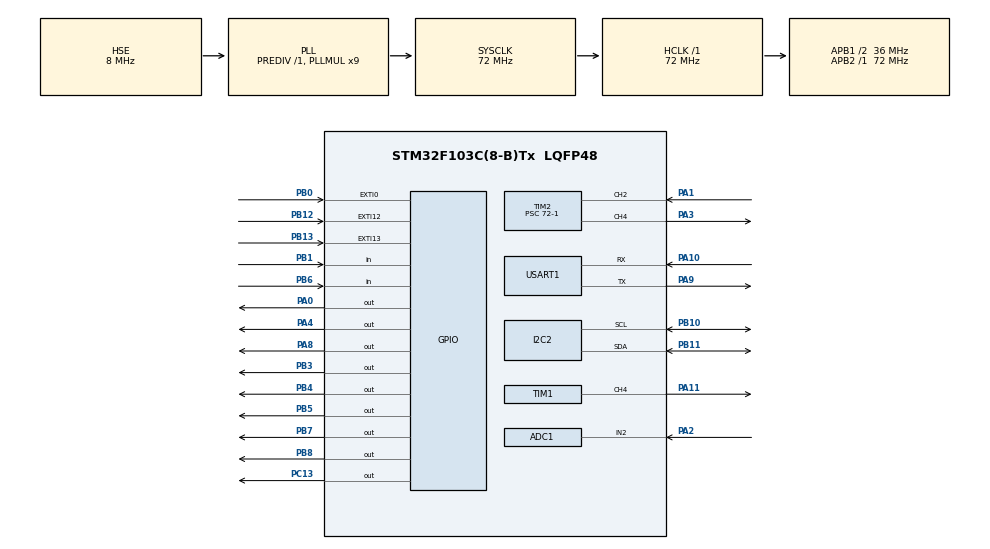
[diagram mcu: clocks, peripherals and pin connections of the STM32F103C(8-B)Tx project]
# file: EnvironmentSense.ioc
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ADC1.Channel-6\#ChannelRegularConversion=ADC_CHANNEL_2
ADC1.ContinuousConvMode=ENABLE
ADC1.EnableInjectedConversion=DISABLE
ADC1.EnableRegularConversion=ENABLE
ADC1.InjNumberOfConversion=4
ADC1.NbrOfConversionFlag=1
ADC1.Rank-6\#ChannelRegularConversion=1
ADC1.SamplingTime-6\#ChannelRegularConversion=ADC_SAMPLETIME_239CYCLES_5
ADC1.master=1
Dma.ADC1.0.Direction=DMA_PERIPH_TO_MEMORY
Dma.ADC1.0.Instance=DMA1_Channel1
Dma.ADC1.0.MemDataAlignment=DMA_MDATAALIGN_HALFWORD
Dma.ADC1.0.MemInc=DMA_MINC_ENABLE
Dma.ADC1.0.Mode=DMA_CIRCULAR
Dma.ADC1.0.PeriphDataAlignment=DMA_PDATAALIGN_HALFWORD
Dma.ADC1.0.PeriphInc=DMA_PINC_DISABLE
Dma.ADC1.0.Priority=DMA_PRIORITY_LOW
Dma.Request0=ADC1
FREERTOS.Tasks01=defaultTask,24,128,StartDefaultTask,Default,NULL,Dynamic,NULL,NULL
FREERTOS.configTOTAL_HEAP_SIZE=10240
Mcu.Family=STM32F1
Mcu.Name=STM32F103C(8-B)Tx
Mcu.Package=LQFP48
NVIC.DMA1_Channel1_IRQn=true\:5\:0\:false\:false\:true\:true\:false\:true\:true
NVIC.EXTI0_IRQn=true\:5\:0\:false\:false\:true\:true\:true\:true\:true
NVIC.EXTI15_10_IRQn=true\:5\:0\:false\:false\:true\:true\:true\:true\:true
NVIC.PriorityGroup=NVIC_PRIORITYGROUP_4
NVIC.TIM2_IRQn=true\:5\:0\:true\:false\:true\:true\:true\:true\:true
NVIC.TIM4_IRQn=true\:15\:0\:true\:false\:true\:false\:false\:true\:true
NVIC.TimeBase=TIM4_IRQn
NVIC.TimeBaseIP=TIM4
PA0-WKUP.Signal=GPIO_Output
PA1.Signal=S_TIM2_CH2
PA10.Mode=Asynchronous
PA10.Signal=USART1_RX
PA11.Signal=S_TIM1_CH4
PA13.Mode=Serial_Wire
PA13.Signal=SYS_JTMS-SWDIO
PA14.Mode=Serial_Wire
PA14.Signal=SYS_JTCK-SWCLK
PA2.Signal=ADCx_IN2
PA3.Signal=S_TIM2_CH4
PA4.PinState=GPIO_PIN_SET
PA4.Signal=GPIO_Output
PA8.GPIO_ModeDefaultOutputPP=GPIO_MODE_OUTPUT_PP
PA8.PinState=GPIO_PIN_SET
PA8.Signal=GPIO_Output
PA9.Mode=Asynchronous
PA9.Signal=USART1_TX
PB0.GPIO_ModeDefaultEXTI=GPIO_MODE_IT_RISING
PB0.GPIO_PuPd=GPIO_PULLUP
PB0.Signal=GPXTI0
PB1.GPIO_PuPd=GPIO_PULLUP
PB1.Signal=GPIO_Input
PB10.Mode=I2C
PB10.Signal=I2C2_SCL
PB11.Mode=I2C
PB11.Signal=I2C2_SDA
PB12.GPIO_ModeDefaultEXTI=GPIO_MODE_IT_FALLING
PB12.GPIO_PuPd=GPIO_PULLUP
PB12.Signal=GPXTI12
PB13.GPIO_ModeDefaultEXTI=GPIO_MODE_IT_FALLING
PB13.GPIO_PuPd=GPIO_PULLUP
PB13.Signal=GPXTI13
PB3.GPIO_ModeDefaultOutputPP=GPIO_MODE_OUTPUT_OD
PB3.GPIO_PuPd=GPIO_NOPULL
PB3.PinState=GPIO_PIN_SET
PB3.Signal=GPIO_Output
PB4.GPIO_ModeDefaultOutputPP=GPIO_MODE_OUTPUT_OD
PB4.GPIO_PuPd=GPIO_NOPULL
PB4.PinState=GPIO_PIN_SET
PB4.Signal=GPIO_Output
PB5.Signal=GPIO_Output
PB6.GPIO_PuPd=GPIO_PULLUP
PB6.Signal=GPIO_Input
PB7.GPIO_PuPd=GPIO_PULLUP
PB7.Signal=GPIO_Output
PB8.GPIO_PuPd=GPIO_PULLUP
PB8.Signal=GPIO_Output
PC13-TAMPER-RTC.Signal=GPIO_Output
PC14-OSC32_IN.Mode=LSE-External-Oscillator
PC14-OSC32_IN.Signal=RCC_OSC32_IN
PC15-OSC32_OUT.Mode=LSE-External-Oscillator
PC15-OSC32_OUT.Signal=RCC_OSC32_OUT
PD0-OSC_IN.Mode=HSE-External-Oscillator
PD0-OSC_IN.Signal=RCC_OSC_IN
PD1-OSC_OUT.Mode=HSE-External-Oscillator
PD1-OSC_OUT.Signal=RCC_OSC_OUT
ProjectManager.HeapSize=0x200
ProjectManager.StackSize=0x400
ProjectManager.TargetToolchain=MDK-ARM V5.32
RCC.ADCPresc=RCC_ADCPCLK2_DIV6
RCC.AHBFreq_Value=72000000
RCC.APB1CLKDivider=RCC_HCLK_DIV2
RCC.APB1Freq_Value=36000000
RCC.APB1TimFreq_Value=72000000
RCC.APB2Freq_Value=72000000
RCC.APB2TimFreq_Value=72000000
RCC.HCLKFreq_Value=72000000
RCC.PLLMUL=RCC_PLL_MUL9
RCC.PLLSourceVirtual=RCC_PLLSOURCE_HSE
RCC.SYSCLKFreq_VALUE=72000000
RCC.SYSCLKSource=RCC_SYSCLKSOURCE_PLLCLK
RCC.USBFreq_Value=72000000
SH.ADCx_IN2.0=ADC1_IN2,IN2
SH.S_TIM1_CH4.0=TIM1_CH4,PWM Generation4 CH4
SH.S_TIM2_CH2.0=TIM2_CH2,Input_Capture2_from_TI2
SH.S_TIM2_CH4.0=TIM2_CH4,PWM Generation4 CH4
TIM1.Channel-PWM\ Generation4\ CH4=TIM_CHANNEL_4
TIM1.Period=100-1
TIM1.Prescaler=72-1
TIM2.Channel-Input_Capture2_from_TI2=TIM_CHANNEL_2
TIM2.Channel-PWM\ Generation4\ CH4=TIM_CHANNEL_4
TIM2.ICFilter_CH2=4
TIM2.Prescaler=72-1
USART1.VirtualMode=VM_ASYNC
VP_FREERTOS_VS_CMSIS_V2.Mode=CMSIS_V2
VP_SYS_VS_tim4.Mode=TIM4
board=custom

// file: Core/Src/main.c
/* USER CODE BEGIN Header */
/**
  ******************************************************************************
  * @file           : main.c
  * @brief          : Main program body
  ******************************************************************************
  * @attention
  *
  * Copyright (c) 2026 STMicroelectronics.
  * All rights reserved.
  *
  * This software is licensed under terms that can be found in the LICENSE file
  * in the root directory of this software component.
  * If no LICENSE file comes with this software, it is provided AS-IS.
  *
  ******************************************************************************
  */
/* USER CODE END Header */
#include "main.h"
#include "cmsis_os.h"
#include "adc.h"
#include "dma.h"
#include "i2c.h"
#include "tim.h"
#include "usart.h"
#include "gpio.h"

/* USER CODE BEGIN Includes */
#include "bsp_actuator.h"
/* USER CODE END Includes */

void SystemClock_Config(void);
void MX_FREERTOS_Init(void);

int main(void)
{

  /* MCU Configuration--------------------------------------------------------*/

  /* Reset of all peripherals, Initializes the Flash interface and the Systick. */
  HAL_Init();

  /* Configure the system clock */
  SystemClock_Config();

  /* Initialize all configured peripherals */
  MX_GPIO_Init();
  MX_DMA_Init();
  MX_I2C2_Init();
  MX_USART1_UART_Init();
  MX_ADC1_Init();
  MX_TIM2_Init();
  MX_TIM1_Init();
  /* USER CODE BEGIN 2 */
  LED_Ctrl_Init();
  Servo_Init();
  Motor_Init();
  /* USER CODE END 2 */

  /* Init scheduler */
  osKernelInitialize();  /* Call init function for freertos objects (in cmsis_os2.c) */
  MX_FREERTOS_Init();

  /* Start scheduler */
  osKernelStart();

  /* We should never get here as control is now taken by the scheduler */

  /* Infinite loop */
  while (1)
  {

  }
}

void SystemClock_Config(void)
{
  RCC_OscInitTypeDef RCC_OscInitStruct = {0};
  RCC_ClkInitTypeDef RCC_ClkInitStruct = {0};
  RCC_PeriphCLKInitTypeDef PeriphClkInit = {0};

  /** Initializes the RCC Oscillators according to the specified parameters
  * in the RCC_OscInitTypeDef structure.
  */
  RCC_OscInitStruct.OscillatorType = RCC_OSCILLATORTYPE_HSE;
  RCC_OscInitStruct.HSEState = RCC_HSE_ON;
  RCC_OscInitStruct.HSEPredivValue = RCC_HSE_PREDIV_DIV1;
  RCC_OscInitStruct.HSIState = RCC_HSI_ON;
  RCC_OscInitStruct.PLL.PLLState = RCC_PLL_ON;
  RCC_OscInitStruct.PLL.PLLSource = RCC_PLLSOURCE_HSE;
  RCC_OscInitStruct.PLL.PLLMUL = RCC_PLL_MUL9;
  if (HAL_RCC_OscConfig(&RCC_OscInitStruct) != HAL_OK)
  {
    Error_Handler();
  }

  /** Initializes the CPU, AHB and APB buses clocks
  */
  RCC_ClkInitStruct.ClockType = RCC_CLOCKTYPE_HCLK|RCC_CLOCKTYPE_SYSCLK
                              |RCC_CLOCKTYPE_PCLK1|RCC_CLOCKTYPE_PCLK2;
  RCC_ClkInitStruct.SYSCLKSource = RCC_SYSCLKSOURCE_PLLCLK;
  RCC_ClkInitStruct.AHBCLKDivider = RCC_SYSCLK_DIV1;
  RCC_ClkInitStruct.APB1CLKDivider = RCC_HCLK_DIV2;
  RCC_ClkInitStruct.APB2CLKDivider = RCC_HCLK_DIV1;

  if (HAL_RCC_ClockConfig(&RCC_ClkInitStruct, FLASH_LATENCY_2) != HAL_OK)
  {
    Error_Handler();
  }
  PeriphClkInit.PeriphClockSelection = RCC_PERIPHCLK_ADC;
  PeriphClkInit.AdcClockSelection = RCC_ADCPCLK2_DIV6;
  if (HAL_RCCEx_PeriphCLKConfig(&PeriphClkInit) != HAL_OK)
  {
    Error_Handler();
  }
}

void HAL_TIM_PeriodElapsedCallback(TIM_HandleTypeDef *htim)
{
  if (htim->Instance == TIM4)
  {
    HAL_IncTick();
  }
}

void Error_Handler(void)
{
  __disable_irq();
  while (1)
  {
  }
}

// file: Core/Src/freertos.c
/* USER CODE BEGIN Header */
/**
 ******************************************************************************
 * File Name          : freertos.c
 * Description        : Code for freertos applications
 ******************************************************************************
 * @attention
 *
 * Copyright (c) 2026 STMicroelectronics.
 * All rights reserved.
 *
 * This software is licensed under terms that can be found in the LICENSE file
 * in the root directory of this software component.
 * If no LICENSE file comes with this software, it is provided AS-IS.
 *
 ******************************************************************************
 */
/* USER CODE END Header */

#include "FreeRTOS.h"
#include "task.h"
#include "main.h"
#include "cmsis_os.h"

/* USER CODE BEGIN Includes */
#include "sht20.h"
#include "led.h"
#include "usart.h"
#include "OLED.h"
#include "bsp_light.h"
#include "bsp_hcsr04.h"
#include "bsp_encoder.h"
#include "app_menu.h"
#include "bsp_buzzer.h"
#include "bsp_actuator.h"
#include "sensor_types.h"
#include "pin_config.h"
#include "app_config.h"
#include <stdio.h>
#include <string.h>
#include <stdlib.h>
/* USER CODE END Includes */

/* USER CODE BEGIN PD */

/* (告警标志/阈值已统一在 sensor_types.h 中定义) */

/* 全局模式: 1=阈值自动控制, 0=手动开关控制 (KEY3 切换) */
static volatile int auto_mode = 1;

/* USER CODE END PD */

/* USER CODE BEGIN Variables */

/*
 * ============================================================
 *  IPC 通信对象（任务间数据传递）
 * ============================================================
 *
 *  数据流示意:
 *  SensorTask ──sht20Queue────► DisplayTask    传感器数据 → OLED 刷新
 *  SensorTask ──analysisQueue─► AnalysisTask   传感器数据 → 告警判断 + 自动控制
 *  InputTask  ──modeNotifyQueue─► DisplayTask  模式切换通知 → OLED 全屏提示
 *  AnalysisTask ──alarmEventFlags──► AlarmTask 告警标志位 → 蜂鸣器触发
 */

osMessageQueueId_t sht20Queue;       /* 传感器 → 显示: 容量1, 只保留最新数据 */
osMessageQueueId_t analysisQueue;    /* 传感器 → 分析: 容量10, 缓冲防止丢数据 */
osMessageQueueId_t modeNotifyQueue;  /* 模式切换 → 显示: 容量2 */
osMutexId_t        statsMutex;       /* 统计互斥锁（预留） */
osEventFlagsId_t   alarmEventFlags;  /* 告警事件组: 6 种告警标志位 */

/*
 * ============================================================
 *  任务属性定义
 * ============================================================
 *
 *  stack_size 单位: 字 (32-bit) → 实际字节数 = stack_size × 4
 *  STM32F103C8T6 总 RAM: 20KB，当前任务总栈约 4.8KB
 *
 *  优先级说明:
 *    所有任务同优先级 (Normal) — 依赖 FreeRTOS 时间片轮转调度
 *    MonitorTask 使用 Low 优先级 — 系统监控不抢实时任务
 */

/* ---- SensorTask: 传感器采集 ---- */
osThreadId_t sensorTaskHandle;
const osThreadAttr_t sensorTask_attributes = {
  .name = "sensorTask",
  .stack_size = 256 * 4,    /* 1KB — printf 消耗栈较多 */
  .priority = (osPriority_t) osPriorityNormal,
};

/* ---- DisplayTask: OLED 显示刷新 ---- */
osThreadId_t displayTaskHandle;
const osThreadAttr_t displayTask_attributes = {
  .name = "displayTask",
  .stack_size = 256 * 4,    /* 1KB — Menu_Render 递归调用 */
  .priority = (osPriority_t) osPriorityNormal,
};

/* ---- InputTask: 按键 + 编码器轮询 ---- */
osThreadId_t inputTaskHandle;
const osThreadAttr_t inputTask_attributes = {
  .name = "inputTask",
  .stack_size = 128 * 4,    /* 512B — 纯逻辑无浮点，栈需求小 */
  .priority = (osPriority_t) osPriorityNormal,
};

/* ---- AnalysisTask: 数据分析 + 阈值比对 + 自动控制 ---- */
osThreadId_t analysisTaskHandle;
const osThreadAttr_t analysisTask_attributes = {
  .name = "analysisTask",
  .stack_size = 256 * 4,    /* 1KB — 浮点比较 + 执行器调用 */
  .priority = (osPriority_t) osPriorityNormal,
};

/* ---- MonitorTask: UART 命令解析 + 系统监控 ---- */
osThreadId_t monitorTaskHandle;
const osThreadAttr_t monitorTask_attributes = {
  .name = "monitorTask",
  .stack_size = 256 * 4,    /* 1KB — JSON 字符串解析消耗栈 */
  .priority = (osPriority_t) osPriorityLow,   /* 低优先级，不干扰实时采集 */
};

/* ---- AlarmTask: 告警响应（蜂鸣器） ---- */
osThreadId_t alarmTaskHandle;
const osThreadAttr_t alarmTask_attributes = {
  .name = "alarmTask",
  .stack_size = 128 * 4,    /* 512B — 仅等待事件 + 控制蜂鸣器 */
  .priority = (osPriority_t) osPriorityNormal,
};

/* USER CODE END Variables */
/* Definitions for defaultTask */
osThreadId_t defaultTaskHandle;
const osThreadAttr_t defaultTask_attributes = {
  .name = "defaultTask",
  .stack_size = 128 * 4,
  .priority = (osPriority_t) osPriorityNormal,
};

/* USER CODE BEGIN FunctionPrototypes */

/*
 * 6 个自定义 FreeRTOS 任务（+1 个 CubeMX 默认任务）
 *
 * ┌─────────────────┬──────────────────────────────────────────┬──────────┐
 * │ 任务             │ 职责                                     │ 周期      │
 * ├─────────────────┼──────────────────────────────────────────┼──────────┤
 * │ StartSensorTask  │ 采集 4 路传感器, 通过队列分发, JSON 上报  │ ~500ms   │
 * │ StartDisplayTask │ OLED 菜单渲染, 响应模式切换通知           │ ~100ms   │
 * │ StartInputTask   │ 按键长/短按检测 + 编码器步数消费          │ 10ms     │
 * │ StartAnalysisTask│ 阈值对比 → 告警标志, 自动模式下控制执行器 │ 事件驱动  │
 * │ StartAlarmTask   │ 阻塞等待告警事件 → 触发蜂鸣器             │ 事件驱动  │
 * │ StartMonitorTask │ UART 环形缓冲区消费 + 10s 系统状态打印    │ 1ms 轮询 │
 * └─────────────────┴──────────────────────────────────────────┴──────────┘
 */
void StartSensorTask(void *argument);
void StartDisplayTask(void *argument);
void StartInputTask(void *argument);
void StartAnalysisTask(void *argument);
void StartMonitorTask(void *argument);
void StartAlarmTask(void *argument);
/* USER CODE END FunctionPrototypes */

void StartDefaultTask(void *argument);

void MX_FREERTOS_Init(void); /* (MISRA C 2004 rule 8.1) */

void MX_FREERTOS_Init(void) {

  /* USER CODE BEGIN RTOS_MUTEX */
  statsMutex = osMutexNew(NULL);
  /* USER CODE END RTOS_MUTEX */

  /* USER CODE BEGIN RTOS_QUEUES */
  sht20Queue      = osMessageQueueNew(QUEUE_SENSOR_DISPLAY, sizeof(SensorData_t), NULL);
  analysisQueue   = osMessageQueueNew(QUEUE_SENSOR_ANALYSIS, sizeof(SensorData_t), NULL);
  modeNotifyQueue = osMessageQueueNew(QUEUE_MODE_NOTIFY, sizeof(uint8_t), NULL);
  /* USER CODE END RTOS_QUEUES */

  /* Create the thread(s) */
  /* creation of defaultTask */
  defaultTaskHandle = osThreadNew(StartDefaultTask, NULL, &defaultTask_attributes);

  /* USER CODE BEGIN RTOS_THREADS */
  sensorTaskHandle   = osThreadNew(StartSensorTask, NULL, &sensorTask_attributes);
  displayTaskHandle  = osThreadNew(StartDisplayTask, NULL, &displayTask_attributes);
  inputTaskHandle    = osThreadNew(StartInputTask, NULL, &inputTask_attributes);
  analysisTaskHandle = osThreadNew(StartAnalysisTask, NULL, &analysisTask_attributes);
  alarmTaskHandle    = osThreadNew(StartAlarmTask, NULL, &alarmTask_attributes);
  monitorTaskHandle  = osThreadNew(StartMonitorTask, NULL, &monitorTask_attributes);
  /* USER CODE END RTOS_THREADS */

  /* USER CODE BEGIN RTOS_EVENTS */
  alarmEventFlags = osEventFlagsNew(NULL);
  /* USER CODE END RTOS_EVENTS */

}

void StartDefaultTask(void *argument)
{
  /* USER CODE BEGIN StartDefaultTask */
  LED_Init();
  for (;;)
  {
    osDelay(500);
  }
  /* USER CODE END StartDefaultTask */
}

/* USER CODE BEGIN Application */

/**
 * @brief  传感器采集任务 — 系统数据入口
 * @note   周期约 500ms: SHT20(85ms阻塞) + osDelay(60) + osDelay(440)
 *         采集 4 路传感器 → 打包 SensorData_t → 分发到 2 个队列 + USART1 JSON 上报
 * @warning SHT20_ReadData 内部 HAL_Delay(85) 阻塞，会阻塞本任务但不影响其他 RTOS 任务
 */
void StartSensorTask(void *argument)
{
    SensorData_t local_data;

    /* ---- 一次性初始化 ---- */
    if (!SHT20_Init()) {
         printf("SHT20 Init Failed!\r\n");
    } else {
         printf("SHT20 Init OK\r\n");
    }

    LightSensor_Init();   /* ADC+DMA 启动，此后 DMA 在后台持续搬运 */
    HCSR04_Init();        /* TIM2 输入捕获启动，此后 ISR 自动处理 Echo */

    for (;;) {
        /* ① 读温湿度 — I2C 主机模式，内部阻塞 85ms */
        if (!SHT20_ReadData(&local_data)) {
            printf("SHT20 Read Error\r\n");
            osDelay(1000);   /* 失败等 1s 再重试，避免死循环刷屏 */
            continue;
        }

        /* ② 读光照 — DMA 循环缓冲区均值滤波，零等待 */
        local_data.light_raw     = LightSensor_GetRaw();
        local_data.light_percent = LightSensor_GetPercent();

        /* ③ 读距离 — 发 Trig 脉冲 → 等 Echo → 读 ISR 捕获结果 */
        HCSR04_Trig();
        osDelay(60);  /* 等待 Echo 返回（最长 38ms + 余量），此期间 ISR 已完成捕获 */
        local_data.distance = HCSR04_GetDistance();

        /* ④ 分发数据到下游任务 */
        osMessageQueuePut(sht20Queue, &local_data, 0, 0);     /* → DisplayTask */
        osMessageQueuePut(analysisQueue, &local_data, 0, 0);  /* → AnalysisTask */

        printf("Temp=%.1f C  Humi=%.1f%%  Light=%d%%  Dist=%.1f cm\r\n",
                local_data.temperature, local_data.humidity,
                local_data.light_percent, local_data.distance);

        /* ⑤ 上报 JSON 给 ESP32（USART1 TX → ESP32 GPIO17 RX） */
        {
            char json[128];
            snprintf(json, sizeof(json),
                "{\"t\":%.1f,\"h\":%.1f,\"l\":%d,\"d\":%.1f}\r\n",
                local_data.temperature, local_data.humidity,
                local_data.light_percent, local_data.distance);
            HAL_UART_Transmit(&huart1, (uint8_t *)json, strlen(json), 100);
        }

        osDelay(440);   /* 补齐到 ~500ms 周期 */
    }
}

/**
 * @brief  OLED 显示任务 — 菜单渲染 + 模式切换动画
 * @note   100ms 刷新周期
 *         从 sht20Queue 取最新传感器数据 → 调用 Menu_Render 绘制当前页面
 *         非阻塞监听 modeNotifyQueue → 收到通知后全屏显示 AUTO/MANUAL 1.2 秒
 */
void StartDisplayTask(void *argument)
{
    SensorData_t local_data = {0};
    uint8_t      mode_notify;

    OLED_Init();
    Menu_Init();
    OLED_ShowString(0, 0, "SHT20 Init...", OLED_8X16);
    OLED_Update();
    osDelay(1000);   /* 给传感器 1s 初始化时间 */

    for (;;) {
        /* 非阻塞检测模式切换通知 — 0ms timeout，有则处理无则跳过 */
        if (osMessageQueueGet(modeNotifyQueue, &mode_notify, NULL, 0) == osOK) {
            OLED_Clear();
            if (mode_notify) {
                OLED_ShowString(0, 0, "  AUTO MODE", OLED_8X16);
                OLED_ShowString(0, 2, "Threshold Ctrl", OLED_8X16);
            } else {
                OLED_ShowString(0, 0, " MANUAL MODE", OLED_8X16);
                OLED_ShowString(0, 2, "Switch Control", OLED_8X16);
            }
            OLED_Update();
            osDelay(1200);   /* 动画保持 1.2s */
            OLED_Clear();    /* 清屏，恢复菜单渲染 */
        }

        /* 尝试取最新传感器数据（100ms 超时，没拿到就用旧数据渲染） */
        if (osMessageQueueGet(sht20Queue, &local_data, NULL, 100) == osOK) {
            /* 拿到新数据 */
        }
        Menu_Render(&local_data);   /* 绘制当前页面 */
        osDelay(100);
    }
}

/**
 * @brief  输入处理任务 — 按键长短按检测 + 编码器步数消费
 * @note   10ms 轮询周期
 *         按键消抖策略: GPIO 下降沿记时刻 → GPIO 上升沿算按键时长
 *         编码器: ISR 已做消抖并累积到 enc_steps，这里只需消费
 *         KEY1: 页面切换
 *         KEY2: 确认/返回（根据当前页面 + 编辑状态分发）
 *         KEY3: 自动/手动模式切换
 */
void StartInputTask(void *argument)
{
    uint8_t  k1_last = 1, k2_last = 1, k3_last = 1;   /* 上一次电平，初始 HIGH（上拉） */
    uint32_t k1_down = 0, k2_down = 0, k3_down = 0;    /* 按下时刻（tick） */

    for (;;) {
        uint8_t k1_now = (uint8_t)HAL_GPIO_ReadPin(KEY1_PORT, KEY1_PIN);
        uint8_t k2_now = (uint8_t)HAL_GPIO_ReadPin(KEY2_PORT, KEY2_PIN);
        uint8_t k3_now = (uint8_t)HAL_GPIO_ReadPin(KEY3_PORT, KEY3_PIN);

        /* ---- KEY1: 下降沿记时刻，上升沿判长短按 ---- */
        if (k1_last == 1 && k1_now == 0) {
            k1_down = osKernelGetTickCount();           /* 按下瞬间 */
        }
        if (k1_last == 0 && k1_now == 1) {
            uint32_t hold = (osKernelGetTickCount() - k1_down)
                            * portTICK_PERIOD_MS;        /* 按键持续时长(ms) */
            if (hold >= BTN_LONG_PRESS_MS)               /* ≥600ms → 长按 */
                Menu_ProcessKey1(BTN_LONG);
            else if (hold >= BTN_DEBOUNCE_MS)            /* ≥30ms → 短按（滤除毛刺） */
                Menu_ProcessKey1(BTN_SHORT);
        }
        k1_last = k1_now;   /* 更新状态，为下次边沿检测做准备 */

        /* ---- KEY2: 同上逻辑 ---- */
        if (k2_last == 1 && k2_now == 0) {
            k2_down = osKernelGetTickCount();
        }
        if (k2_last == 0 && k2_now == 1) {
            uint32_t hold = (osKernelGetTickCount() - k2_down)
                            * portTICK_PERIOD_MS;
            if (hold >= BTN_LONG_PRESS_MS)
                Menu_ProcessKey2(BTN_LONG);
            else if (hold >= BTN_DEBOUNCE_MS)
                Menu_ProcessKey2(BTN_SHORT);
        }
        k2_last = k2_now;

        /* ---- KEY3: 模式切换（仅判断短按） ---- */
        if (k3_last == 1 && k3_now == 0) {
            k3_down = osKernelGetTickCount();
        }
        if (k3_last == 0 && k3_now == 1) {
            uint32_t hold = (osKernelGetTickCount() - k3_down)
                            * portTICK_PERIOD_MS;
            if (hold >= BTN_DEBOUNCE_MS) {               /* 消抖即可，不区分长短按 */
                auto_mode = !auto_mode;                   /* 翻转自动/手动模式 */
                uint8_t notify = (uint8_t)auto_mode;
                osMessageQueuePut(modeNotifyQueue, &notify, 0, 0);  /* 通知 DisplayTask */
                printf("[KEY3] Mode: %s\r\n", auto_mode ? "AUTO" : "MANUAL");
            }
        }
        k3_last = k3_now;

        /* ---- 编码器步数消费: 读后即清零 ---- */
        int32_t steps = Encoder_GetSteps();
        if (steps) Menu_ProcessEncoder(steps);  /* 一次性传入本周期所有步数 */

        osDelay(10);   /* 10ms 轮询，100Hz 采样率对按键绰绰有余 */
    }
}

/**
 * @brief  数据分析任务 — 阈值比对 + 告警判断 + 自动执行器控制
 * @note   事件驱动: 等待 analysisQueue 有数据才执行
 *         6 项阈值逐一比对 → 满足条件则置位对应告警标志
 *         自动模式下直接驱动 3 个执行器（风扇/窗帘/LED），含回滞区间防抖动
 *         告警标志通过 alarmEventFlags 事件组通知 AlarmTask
 */
void StartAnalysisTask(void *argument)
{
    SensorData_t data;

    printf("[Analysis] started\r\n");

    for (;;) {
        /* 阻塞等待传感器数据（500ms 超时，防止死等） */
        if (osMessageQueueGet(analysisQueue, &data, NULL, 500) == osOK) {

            /* ---- 阈值检查：6 项逐一比对，生成告警位掩码 ---- */
            uint32_t flags = 0;
            const RuntimeThreshold_t *thr = Menu_GetThreshold();

            if (data.temperature  > thr->temp_high)  flags |= ALARM_FLAG_TEMP_HIGH;
            if (data.temperature  < thr->temp_low)   flags |= ALARM_FLAG_TEMP_LOW;
            if (data.humidity     > thr->humi_high)  flags |= ALARM_FLAG_HUMI_HIGH;
            if (data.humidity     < thr->humi_low)   flags |= ALARM_FLAG_HUMI_LOW;
            if (data.light_percent < thr->light_low) flags |= ALARM_FLAG_LIGHT_LOW;
            if (data.distance     < thr->dist_near)  flags |= ALARM_FLAG_DIST_NEAR;

            /* ---- 自动执行器控制（手动模式下跳过，由小程序/UART 控制） ---- */
            if (auto_mode) {
                /* 风扇: 温度 > 上限 → 开(80%占空比)；温度回落 > 1°C → 关闭
                 *      1°C 回滞区间防止临界值反复开关 */
                if (data.temperature > thr->temp_high)
                    Motor_Forward(80);
                else if (data.temperature <= thr->temp_high - 1.0f)
                    Motor_Brake();

                /* 窗帘: 光照 > 70% → 关闭（遮阳）；光照 < 40% → 打开（采光）
                 *       30% 宽回滞区间，避免云层飘过引起频繁开关 */
                if (data.light_percent > 70)
                    Servo_Close();
                else if (data.light_percent < 40)
                    Servo_Open();

                /* LED: 光照 < 阈值下限 → 开灯补光；光照回升 > 阈值+10% → 关灯
                 *      10% 回滞区间 */
                if (data.light_percent < thr->light_low)
                    LED_Ctrl_ON();
                else if (data.light_percent > thr->light_low + 10)
                    LED_Ctrl_OFF();
            }

            /* 有告警则设置事件标志，通知 AlarmTask */
            if (flags) {
                osEventFlagsSet(alarmEventFlags, flags);
                printf("[Alarm] flags=0x%lX\r\n", flags);
            }
        }
    }
}

/**
 * @brief  告警响应任务 — 阻塞等待告警事件 → 触发蜂鸣器
 * @note   永久阻塞等待 alarmEventFlags 中的 DIST_NEAR 标志
 *         蜂鸣器快速响 3 声后冷却 3 秒，防止连续报警扰民
 * @todo   当前仅响应距离告警(DIST_NEAR)，应扩展为响应全部 6 种告警
 *         并根据告警类型区分蜂鸣节奏（如温度用快节奏、湿度用慢节奏）
 */
void StartAlarmTask(void *argument)
{
    Buzzer_Init();
    printf("[Alarm] started\r\n");

    for (;;) {
        /* 阻塞等待距离告警事件（CPU 完全释放，不占时间片） */
        osEventFlagsWait(alarmEventFlags,
                          ALARM_FLAG_DIST_NEAR,   /* 只等这一个标志 */
                          osFlagsWaitAny,          /* 任一满足即唤醒 */
                          osWaitForever);           /* 无超时，永久等 */

        printf("[Alarm] DIST NEAR\r\n");
        Buzzer_Beep(BEEP_FAST_ON_MS, BEEP_FAST_OFF_MS, BEEP_FAST_COUNT);
        /* BEEP_FAST: 100ms响/100ms停 × 3次 = 总计 600ms */

        osDelay(3000);   /* 报警冷却: 3 秒内不重复触发 */
    }
}

/**
 * @brief  系统监控任务 — UART 命令解析 + 定期状态打印
 * @note   内层 1ms 轮询环形缓冲区，外层每 10 秒打印系统信息
 *         解析 3 种 JSON 命令:
 *           1. {"cmd":"init",...}          ESP32 启动后恢复阈值
 *           2. {"prop":"...","value":...}  云端/小程序远程设置阈值
 *           3. {"cmd":"actuator","act":"...","val":...}  远程控制执行器(仅手动模式)
 *         环形缓冲区在 USART1 RXNE ISR 中填充，本任务消费
 * @warning JSON 解析使用 strstr/atof 手工解析，非标准 JSON 库，容错性有限
 */
void StartMonitorTask(void *argument)
{
    char buf[256];   /* vTaskList 缓冲区 */

    printf("[Monitor] started\r\n");

    char rx_buf[256];          /* 命令接收缓冲区 */
    uint16_t rx_idx = 0;       /* 当前写入位置 */

    for (;;) {
        /* ---- 内层: 1ms 轮询 UART 环形缓冲区（10000 次 = 10 秒） ---- */
        for (int t = 0; t < 10000; t++) {
            /* 从 ISR 驱动的环形缓冲区读取所有可用字节 */
            while (UART_RxAvailable()) {
                uint8_t ch = UART_RxGetChar();
                if (ch == '\n' || ch == '\r') {
                    /* 遇到换行/回车 → 一行命令完整，开始解析 */
                    if (rx_idx > 0) {
                        rx_buf[rx_idx] = '\0';     /* 收尾 */
                        rx_idx = 0;                 /* 重置指针 */

                        /* 提取最外层 JSON 花括号 */
                        char *start = strchr(rx_buf, '{');
                        char *end   = strchr(rx_buf, '}');
                        if (start && end && end > start) {
                            end[1] = '\0';           /* 截断尾部多余字符 */

                            /* ---- 命令类型 A: ESP32 启动恢复阈值 ---- */
                            /* 格式: {"cmd":"init","maxtemp_set":35,"minitemp_set":0,...} */
                            if (strstr(start, "\"cmd\":\"init\"")) {
                                static const char *keys[] = {
                                    "maxtemp_set", "minitemp_set", "maxhum_set",
                                    "minihum_set", "minlight_set", "neardist_set"
                                };
                                for (int k = 0; k < 6; k++) {
                                    char search[64];
                                    snprintf(search, sizeof(search), "\"%s\":", keys[k]);
                                    char *pp = strstr(start, search);
                                    if (pp) {
                                        pp += strlen(search);
                                        char vs[32] = {0};
                                        int vi = 0;
                                        while (*pp && *pp != ',' && *pp != '}' && vi < 31)
                                            vs[vi++] = *pp++;
                                        vs[vi] = '\0';
                                        float v = atof(vs);           /* 字符串 → 浮点 */
                                        int ti = Menu_PropNameToIndex(keys[k]);
                                        if (ti >= 0) Menu_SetThresholdByIndex(ti, v);
                                    }
                                }
                                Menu_SaveThresholds();                /* 写 Flash */
                                printf("[UART] INIT thresholds applied\r\n");
                            }
                            /* ---- 命令类型 B: 云端/小程序设置单个阈值 ---- */
                            /* 格式: {"prop":"maxtemp_set","value":30} */
                            else {
                                char prop[32] = {0};
                                char *pp = strstr(start, "\"prop\":\"");
                                if (pp) {
                                    pp += 8;                         /* 跳过 "prop":" */
                                    int i = 0;
                                    while (*pp && *pp != '\"' && i < 31) prop[i++] = *pp++;
                                    prop[i] = '\0';
                                }

                                float val = 0;
                                char *vp = strstr(start, "\"value\":");
                                if (vp) {
                                    vp += 8;                         /* 跳过 "value": */
                                    char val_str[32] = {0};
                                    int i = 0;
                                    while (*vp && *vp != '}' && *vp != ',' && i < 31)
                                        val_str[i++] = *vp++;
                                    val_str[i] = '\0';
                                    val = atof(val_str);
                                }

                                int thr_idx = Menu_PropNameToIndex(prop);
                                if (thr_idx >= 0) {
                                    Menu_SetThresholdByIndex(thr_idx, val);
                                    Menu_SaveThresholds();           /* 写 Flash */
                                    printf("[UART] SET %s = %.1f\r\n", prop, val);
                                }
                            }

                            /* ---- 命令类型 C: 远程执行器控制（仅手动模式生效） ---- */
                            /* 格式: {"cmd":"actuator","act":"led","val":1} 或 {"act":"servo","val":0} */
                            if (strstr(start, "\"cmd\":\"actuator\"")) {
                                char act[16] = {0};
                                float aval = 0;

                                char *ap = strstr(start, "\"act\":\"");
                                if (ap) {
                                    ap += 7;                         /* 跳过 "act":" */
                                    int i = 0;
                                    while (*ap && *ap != '\"' && i < 15) act[i++] = *ap++;
                                    act[i] = '\0';
                                }

                                char *vp2 = strstr(start, "\"val\":");
                                if (vp2) {
                                    vp2 += 6;                        /* 跳过 "val": */
                                    char vs[16] = {0};
                                    int i = 0;
                                    while (*vp2 && *vp2 != '}' && *vp2 != ',' && i < 15)
                                        vs[i++] = *vp2++;
                                    vs[i] = '\0';
                                    aval = atof(vs);
                                }

                                if (!auto_mode) {
                                    if (strcmp(act, "led") == 0) {
                                        if (aval > 0) LED_Ctrl_ON();
                                        else          LED_Ctrl_OFF();
                                    } else if (strcmp(act, "servo") == 0) {
                                        if (aval > 0) Servo_Open();
                                        else          Servo_Close();
                                    } else if (strcmp(act, "motor") == 0) {
                                        if (aval > 0) Motor_Forward(80);
                                        else          Motor_Brake();
                                    }
                                    printf("[UART] ACTUATOR %s = %d\r\n", act, (int)aval);
                                } else {
                                    printf("[UART] ACTUATOR ignored (auto mode)\r\n");
                                }
                            }
                        }
                    }
                } else if (rx_idx < sizeof(rx_buf) - 1) {
                    rx_buf[rx_idx++] = ch;   /* 普通字节 → 追加到缓冲区 */
                }
                /* 缓冲区满时丢弃该字节（静默丢帧，不阻塞 ISR） */
            }
            osDelay(1);   /* 1ms 节拍 */
        }

        /* ---- 外层: 每 10 秒打印一次系统运行状态 ---- */
        vTaskList(buf);                                    /* FreeRTOS 内置: 任务名+状态+栈剩余 */
        printf("--- Task List ---\r\n%s\r\n", buf);
        printf("FreeHeap: %lu\r\n", xPortGetFreeHeapSize());   /* 剩余堆内存（字节） */
    }
}

/* USER CODE END Application */
